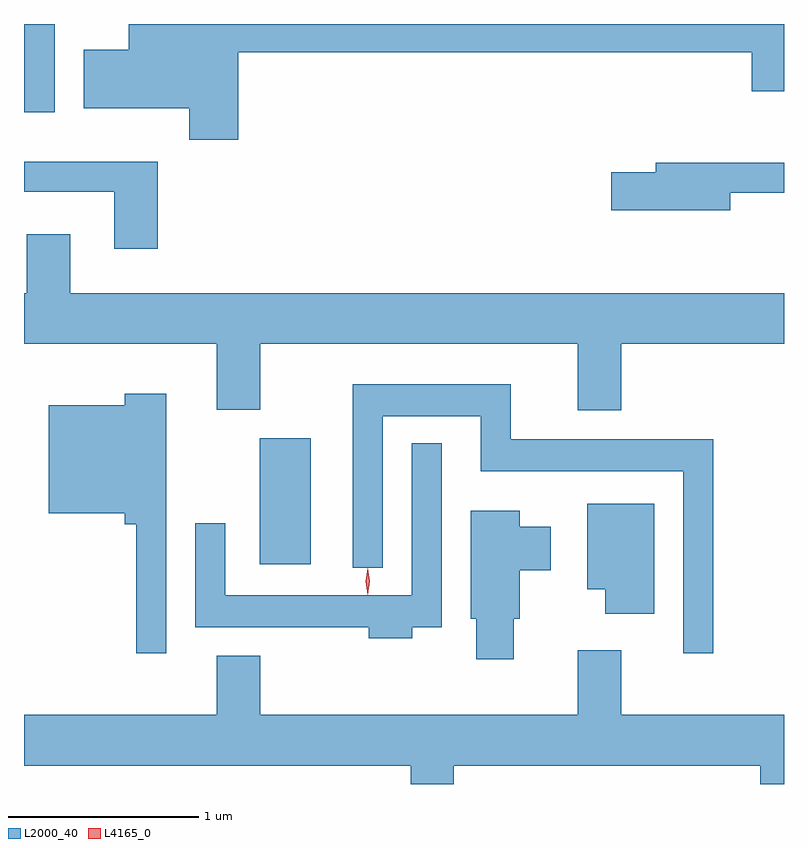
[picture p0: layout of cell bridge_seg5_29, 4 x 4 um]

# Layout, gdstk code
import gdstk
lib = gdstk.Library(unit=1e-6, precision=1e-09)
def R(c, l, rs):  # rectangles x0, y0, x1, y1
    for r in rs: c.add(gdstk.rectangle(r[:2], r[2:], *l))
def P(c, l, *ps):  # polygons
    for p in ps: c.add(gdstk.Polygon(p, *l))
L2000_40 = (2000, 40)
L4165_0 = (4165, 0)

bridge_seg5_29 = lib.new_cell('bridge_seg5_29')
R(bridge_seg5_29, L2000_40, [(1339.326,1473.396,1339.594,1474.059), (1338.086,1475.776,1338.249,1476.24)])
P(bridge_seg5_29, L2000_40, [(1339.214,1476.091),(1341.916,1476.091),(1341.916,1475.886),(1342.086,1475.886),(1342.086,1476.24),(1338.636,1476.24),(1338.636,1476.104),(1338.401,1476.104),(1338.401,1475.796),(1338.956,1475.796),(1338.956,1475.631),(1339.214,1475.631)],
  [(1338.789,1475.514),(1338.086,1475.514),(1338.086,1475.356),(1338.561,1475.356),(1338.561,1475.056),(1338.789,1475.056)],
  [(1341.804,1475.351),(1342.086,1475.351),(1342.086,1475.509),(1341.411,1475.509),(1341.411,1475.459),(1341.176,1475.459),(1341.176,1475.261),(1341.804,1475.261)],
  [(1341.229,1474.556),(1342.086,1474.556),(1342.086,1474.824),(1338.329,1474.824),(1338.329,1475.134),(1338.101,1475.134),(1338.101,1474.824),(1338.086,1474.824),(1338.086,1474.556),(1339.101,1474.556),(1339.101,1474.211),(1339.329,1474.211),(1339.329,1474.556),(1341.001,1474.556),(1341.001,1474.206),(1341.229,1474.206)],
  [(1341.714,1474.054),(1340.649,1474.054),(1340.649,1474.344),(1339.816,1474.344),(1339.816,1473.378),(1339.974,1473.378),(1339.974,1474.176),(1340.491,1474.176),(1340.491,1473.886),(1341.556,1473.886),(1341.556,1472.928),(1341.714,1472.928)],
  [(1338.834,1474.294),(1338.616,1474.294),(1338.616,1474.234),(1338.216,1474.234),(1338.216,1473.666),(1338.616,1473.666),(1338.616,1473.606),(1338.676,1473.606),(1338.676,1472.928),(1338.834,1472.928)],
  [(1340.129,1473.066),(1340.284,1473.066),(1340.284,1474.033),(1340.126,1474.033),(1340.126,1473.234),(1339.144,1473.234),(1339.144,1473.613),(1338.986,1473.613),(1338.986,1473.066),(1339.901,1473.066),(1339.901,1473.006),(1340.129,1473.006)],
  [(1341.404,1473.714),(1341.051,1473.714),(1341.051,1473.266),(1341.146,1473.266),(1341.146,1473.136),(1341.404,1473.136)],
  [(1340.664,1473.111),(1340.694,1473.111),(1340.694,1473.366),(1340.859,1473.366),(1340.859,1473.594),(1340.694,1473.594),(1340.694,1473.679),(1340.436,1473.679),(1340.436,1473.111),(1340.466,1473.111),(1340.466,1472.896),(1340.664,1472.896)],
  [(1340.349,1472.336),(1341.961,1472.336),(1341.961,1472.24),(1342.086,1472.24),(1342.086,1472.604),(1341.229,1472.604),(1341.229,1472.944),(1341.001,1472.944),(1341.001,1472.604),(1339.329,1472.604),(1339.329,1472.914),(1339.101,1472.914),(1339.101,1472.604),(1338.086,1472.604),(1338.086,1472.336),(1340.121,1472.336),(1340.121,1472.24),(1340.349,1472.24)])
P(bridge_seg5_29, L4165_0, [(1339.894,1473.237),(1339.885,1473.306),(1339.894,1473.376),(1339.895,1473.376),(1339.896,1473.376),(1339.905,1473.306),(1339.896,1473.237),(1339.895,1473.237)],
  [(1339.895,1473.24),(1339.885,1473.306),(1339.894,1473.372),(1339.895,1473.373),(1339.896,1473.372),(1339.905,1473.306),(1339.896,1473.24),(1339.896,1473.24)])

lib.write_gds('bridge_seg5_29.gds')
